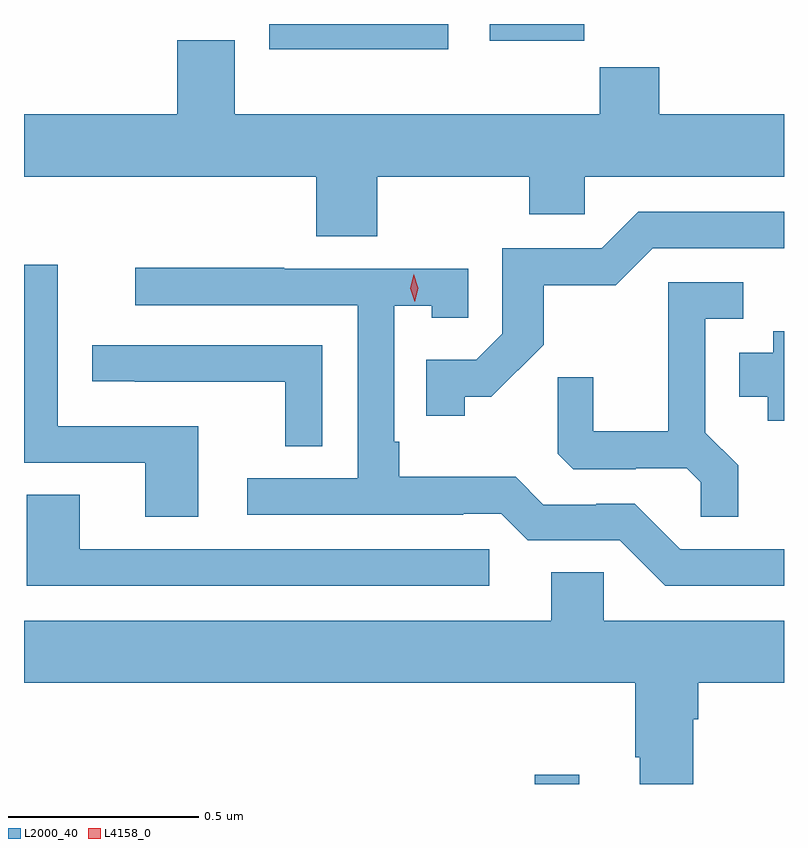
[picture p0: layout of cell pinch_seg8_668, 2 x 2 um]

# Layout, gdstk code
import gdstk
lib = gdstk.Library(unit=1e-6, precision=1e-09)
def R(c, l, rs):  # rectangles x0, y0, x1, y1
    for r in rs: c.add(gdstk.rectangle(r[:2], r[2:], *l))
def P(c, l, *ps):  # polygons
    for p in ps: c.add(gdstk.Polygon(p, *l))
L2000_40 = (2000, 40)
L4158_0 = (4158, 0)

pinch_seg8_668 = lib.new_cell('pinch_seg8_668')
R(pinch_seg8_668, L2000_40, [(346.75,1100.25,346.867,1100.275), (346.052,1102.184,346.522,1102.25), (346.631,1102.206,346.88,1102.25)])
P(pinch_seg8_668, L2000_40, [(346.335,1101.848),(346.735,1101.848),(346.735,1101.75),(346.881,1101.75),(346.881,1101.848),(347.406,1101.848),(347.406,1102.012),(347.078,1102.012),(347.078,1102.136),(346.921,1102.136),(346.921,1102.012),(345.961,1102.012),(345.961,1102.207),(345.809,1102.207),(345.809,1102.012),(345.406,1102.012),(345.406,1101.848),(346.175,1101.848),(346.175,1101.691),(346.335,1101.691)],
  [(346.566,1101.269),(346.636,1101.269),(346.774,1101.406),(346.774,1101.562),(346.963,1101.562),(347.061,1101.66),(347.406,1101.66),(347.406,1101.756),(347.022,1101.756),(346.926,1101.66),(346.665,1101.66),(346.665,1101.435),(346.596,1101.366),(346.465,1101.366),(346.465,1101.219),(346.566,1101.219)],
  [(345.865,1101.192),(345.495,1101.192),(345.495,1101.616),(345.406,1101.616),(345.406,1101.096),(345.725,1101.096),(345.725,1100.953),(345.865,1100.953)],
  [(347.406,1100.868),(347.133,1100.868),(347.013,1100.988),(346.912,1100.988),(346.912,1100.985),(346.773,1100.985),(346.7,1101.058),(346.393,1101.058),(346.393,1101.151),(346.38,1101.151),(346.38,1101.509),(346.479,1101.509),(346.479,1101.477),(346.575,1101.477),(346.575,1101.606),(346.091,1101.606),(346.091,1101.609),(345.699,1101.609),(345.699,1101.51),(346.284,1101.51),(346.284,1101.054),(345.993,1101.054),(345.993,1100.958),(346.562,1100.958),(346.562,1100.961),(346.662,1100.961),(346.731,1100.892),(346.974,1100.892),(347.094,1100.772),(347.406,1100.772)],
  [(347.285,1101.089),(347.199,1101.175),(347.199,1101.474),(347.299,1101.474),(347.299,1101.57),(347.102,1101.57),(347.102,1101.178),(346.904,1101.178),(346.904,1101.321),(346.81,1101.321),(346.81,1101.119),(346.851,1101.078),(347.016,1101.078),(347.016,1101.081),(347.15,1101.081),(347.187,1101.044),(347.187,1100.953),(347.285,1100.953)],
  [(347.406,1101.442),(347.378,1101.442),(347.378,1101.385),(347.288,1101.385),(347.288,1101.269),(347.363,1101.269),(347.363,1101.206),(347.406,1101.206)],
  [(346.191,1101.405),(345.585,1101.405),(345.585,1101.31),(345.697,1101.31),(345.697,1101.309),(346.093,1101.309),(346.093,1101.139),(346.191,1101.139)],
  [(346.63,1100.868),(345.553,1100.868),(345.553,1101.011),(345.413,1101.011),(345.413,1100.772),(346.63,1100.772)],
  [(347.167,1100.42),(347.18,1100.42),(347.18,1100.516),(347.406,1100.516),(347.406,1100.68),(346.932,1100.68),(346.932,1100.807),(346.793,1100.807),(346.793,1100.68),(345.406,1100.68),(345.406,1100.516),(347.015,1100.516),(347.015,1100.32),(347.027,1100.32),(347.027,1100.25),(347.167,1100.25)])
P(pinch_seg8_668, L4158_0, [(346.434,1101.519),(346.434,1101.519),(346.423,1101.555),(346.432,1101.591),(346.432,1101.591),(346.432,1101.591),(346.443,1101.555),(346.434,1101.519)])

lib.write_gds('pinch_seg8_668.gds')
